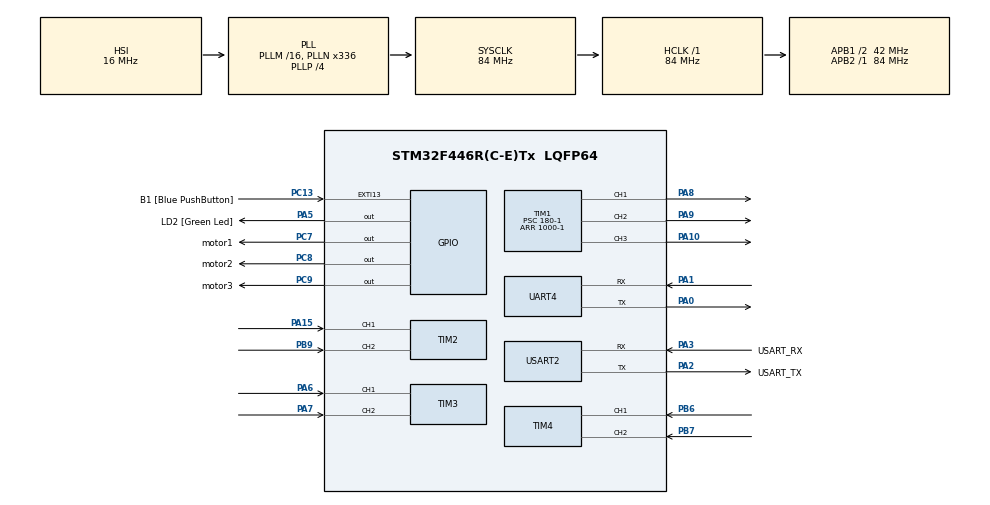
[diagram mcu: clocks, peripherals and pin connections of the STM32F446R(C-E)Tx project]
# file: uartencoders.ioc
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Mcu.Family=STM32F4
Mcu.Name=STM32F446R(C-E)Tx
Mcu.Package=LQFP64
NVIC.PriorityGroup=NVIC_PRIORITYGROUP_0
PA0-WKUP.Mode=Asynchronous
PA0-WKUP.Signal=UART4_TX
PA1.Mode=Asynchronous
PA1.Signal=UART4_RX
PA10.Signal=S_TIM1_CH3
PA13.GPIO_Label=TMS
PA13.Mode=Serial_Wire
PA13.Signal=SYS_JTMS-SWDIO
PA14.GPIO_Label=TCK
PA14.Mode=Serial_Wire
PA14.Signal=SYS_JTCK-SWCLK
PA15.GPIO_PuPd=GPIO_PULLUP
PA15.Signal=S_TIM2_CH1_ETR
PA2.GPIO_Label=USART_TX
PA2.Mode=Asynchronous
PA2.Signal=USART2_TX
PA3.GPIO_Label=USART_RX
PA3.Mode=Asynchronous
PA3.Signal=USART2_RX
PA5.GPIO_Label=LD2 [Green Led]
PA5.Signal=GPIO_Output
PA6.GPIO_PuPd=GPIO_PULLUP
PA6.Signal=S_TIM3_CH1
PA7.GPIO_PuPd=GPIO_PULLUP
PA7.Signal=S_TIM3_CH2
PA8.Signal=S_TIM1_CH1
PA9.Signal=S_TIM1_CH2
PB6.GPIO_PuPd=GPIO_PULLUP
PB6.Signal=S_TIM4_CH1
PB7.GPIO_PuPd=GPIO_PULLUP
PB7.Signal=S_TIM4_CH2
PB9.GPIO_PuPd=GPIO_PULLUP
PB9.Signal=S_TIM2_CH2
PC13.GPIO_Label=B1 [Blue PushButton]
PC13.GPIO_ModeDefaultEXTI=GPIO_MODE_IT_FALLING
PC13.Signal=GPXTI13
PC14-OSC32_IN.Mode=LSE-External-Oscillator
PC14-OSC32_IN.Signal=RCC_OSC32_IN
PC15-OSC32_OUT.Mode=LSE-External-Oscillator
PC15-OSC32_OUT.Signal=RCC_OSC32_OUT
PC7.GPIO_Label=motor1
PC7.Signal=GPIO_Output
PC8.GPIO_Label=motor2
PC8.Signal=GPIO_Output
PC9.GPIO_Label=motor3
PC9.Signal=GPIO_Output
PH0-OSC_IN.Mode=HSE-External-Oscillator
PH0-OSC_IN.Signal=RCC_OSC_IN
PH1-OSC_OUT.Mode=HSE-External-Oscillator
PH1-OSC_OUT.Signal=RCC_OSC_OUT
ProjectManager.HeapSize=0x200
ProjectManager.StackSize=0x400
ProjectManager.TargetToolchain=STM32CubeIDE
RCC.48MHZClocksFreq_Value=84000000
RCC.AHBFreq_Value=84000000
RCC.APB1CLKDivider=RCC_HCLK_DIV2
RCC.APB1Freq_Value=42000000
RCC.APB1TimFreq_Value=84000000
RCC.APB2Freq_Value=84000000
RCC.APB2TimFreq_Value=84000000
RCC.CortexFreq_Value=84000000
RCC.FLatency-AdvancedSettings=FLASH_LATENCY_2
RCC.HCLKFreq_Value=84000000
RCC.HSE_VALUE=8000000
RCC.HSI_VALUE=16000000
RCC.PLLN=336
RCC.PLLP=RCC_PLLP_DIV4
RCC.SYSCLKFreq_VALUE=84000000
RCC.SYSCLKSource=RCC_SYSCLKSOURCE_PLLCLK
RCC.USBFreq_Value=168000000
RCC.VCOOutputFreq_Value=336000000
SH.S_TIM1_CH1.0=TIM1_CH1,PWM Generation1 CH1
SH.S_TIM1_CH2.0=TIM1_CH2,PWM Generation2 CH2
SH.S_TIM1_CH3.0=TIM1_CH3,PWM Generation3 CH3
SH.S_TIM2_CH1_ETR.0=TIM2_CH1,Encoder_Interface
SH.S_TIM2_CH2.0=TIM2_CH2,Encoder_Interface
SH.S_TIM3_CH1.0=TIM3_CH1,Encoder_Interface
SH.S_TIM3_CH2.0=TIM3_CH2,Encoder_Interface
SH.S_TIM4_CH1.0=TIM4_CH1,Encoder_Interface
SH.S_TIM4_CH2.0=TIM4_CH2,Encoder_Interface
TIM1.Channel-PWM\ Generation1\ CH1=TIM_CHANNEL_1
TIM1.Channel-PWM\ Generation2\ CH2=TIM_CHANNEL_2
TIM1.Channel-PWM\ Generation3\ CH3=TIM_CHANNEL_3
TIM1.Period=1000-1
TIM1.Prescaler=180-1
TIM2.EncoderMode=TIM_ENCODERMODE_TI12
TIM2.IC1Filter=5
TIM2.IC2Filter=5
TIM3.EncoderMode=TIM_ENCODERMODE_TI12
TIM3.IC1Filter=5
TIM3.IC2Filter=5
TIM4.EncoderMode=TIM_ENCODERMODE_TI12
TIM4.IC1Filter=5
TIM4.IC2Filter=5
TIM8.Channel-PWM\ Generation1\ CH1=TIM_CHANNEL_1
TIM8.Period=1000-1
TIM8.Prescaler=180-1
UART4.VirtualMode=Asynchronous
USART2.VirtualMode=VM_ASYNC
VP_TIM1_VS_ClockSourceINT.Mode=Internal
VP_TIM8_VS_ClockSourceINT.Mode=Internal
board=NUCLEO-F446RE

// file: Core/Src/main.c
/* USER CODE BEGIN Header */
/**
  ******************************************************************************
  * @file           : main.c
  * @brief          : Main program body
  ******************************************************************************
  * @attention
  *
  * Copyright (c) 2025 STMicroelectronics.
  * All rights reserved.
  *
  * This software is licensed under terms that can be found in the LICENSE file
  * in the root directory of this software component.
  * If no LICENSE file comes with this software, it is provided AS-IS.
  *
  ******************************************************************************
  */
/* USER CODE END Header */
#include "main.h"
#include<stdio.h>
#include<inttypes.h>
#include<Math.h>
#include <stdbool.h>
#include <stdlib.h>
/* USER CODE BEGIN Includes */
#define pi 3.1415926535
uint8_t rxbuff[16];
int slow=75;
int fast=400;
int Buff1=60;
int Buff2=-60;
int BuffP=80;
int BuffN=-80;
int target_wf,target_wrr,target_wrl,w;
int32_t lx, ly, rx, ry, cro, squ, tri, cir, up, down, left, right, ll1, rr1, ll2, rr2,rL,rR;
int deadzone=50;
int l0=310;
/* USER CODE END Includes */

TIM_HandleTypeDef htim1;
TIM_HandleTypeDef htim2;
TIM_HandleTypeDef htim3;
TIM_HandleTypeDef htim4;
TIM_HandleTypeDef htim8;

UART_HandleTypeDef huart4;
UART_HandleTypeDef huart2;

void SystemClock_Config(void);
static void MX_GPIO_Init(void);
static void MX_USART2_UART_Init(void);
static void MX_UART4_Init(void);
static void MX_TIM2_Init(void);
static void MX_TIM3_Init(void);
static void MX_TIM4_Init(void);
static void MX_TIM1_Init(void);
static void MX_TIM8_Init(void);

int constrain(int value, int min_val, int max_val) {
    if (value < min_val) return min_val;
    if (value > max_val) return max_val;
    return value;
}
void compute3wheel() {
  // Calculate joystick-based velocities
	  const double theta = -30 * pi / 180;
	double lx_rotated = lx * cos(theta) - ly * sin(theta);
	  double ly_rotated = lx * sin(theta) + ly * cos(theta);
	  double vx = ly_rotated;
	  double vy = lx_rotated;
  w = rx;
    target_wf = ((-0.5*vx) + (sqrt(3)/2)*vy + l0*w);
    target_wrr = ((-0.5*vx)-(sqrt(3)/2)*vy + l0*w) ;
    target_wrl = (vx+l0*w);

    // Constrain target wheel speeds
    target_wf = constrain(target_wf, -800, 800);
    target_wrr = constrain(target_wrr, -800, 800);
    target_wrl = constrain(target_wrl, -800, 800);
}
int main(void)
{

  /* MCU Configuration--------------------------------------------------------*/

  /* Reset of all peripherals, Initializes the Flash interface and the Systick. */
  HAL_Init();

  /* USER CODE BEGIN Init */
  int counterValue,counterValue1,counterValue2;
  	int pastCounterValue=0,pastCounterValue1=0,pastCounterValue2=0;
  /* USER CODE END Init */

  /* Configure the system clock */
  SystemClock_Config();

  /* Initialize all configured peripherals */
  MX_GPIO_Init();
  MX_USART2_UART_Init();
  MX_UART4_Init();
  MX_TIM2_Init();
  MX_TIM3_Init();
  MX_TIM4_Init();
  MX_TIM1_Init();
  MX_TIM8_Init();
  /* USER CODE BEGIN 2 */
  HAL_UART_Receive(&huart4, rxbuff, 64,1000);
  HAL_TIM_Encoder_Start(&htim2, TIM_CHANNEL_ALL);
  HAL_TIM_Encoder_Start(&htim3, TIM_CHANNEL_ALL);
  HAL_TIM_Encoder_Start(&htim4, TIM_CHANNEL_ALL);
  /* USER CODE END 2 */

  /* Infinite loop */
  while (1)
  {

    /* USER CODE BEGIN 3 */
		  HAL_StatusTypeDef status;
		  status=HAL_UART_Receive(&huart4, rxbuff,64,1000);
		  if (status == HAL_OK)
		  {
			  	  	  	  // Convert the received bytes to signed integers
		  	  	 	 	   lx = (rxbuff[0] & 0x80) ? (int32_t)rxbuff[0] - 256 : (int32_t)rxbuff[0];
		  	  	 	 	   ly = (rxbuff[1] & 0x80) ? (int32_t)rxbuff[1] - 256 : (int32_t)rxbuff[1];
		  	  	 	 	   rx = (rxbuff[2] & 0x80) ? (int32_t)rxbuff[2] - 256 : (int32_t)rxbuff[2];
		  	  	 	 	   ry = (rxbuff[3] & 0x80) ? (int32_t)rxbuff[3] - 256 : (int32_t)rxbuff[3];
		  	  	 	 	   cro= (rxbuff[4] & 0x80) ? (int32_t)rxbuff[4] - 256 : (int32_t)rxbuff[4];
		  	  	 	 	   squ= (rxbuff[5] & 0x80) ? (int32_t)rxbuff[5] - 256 : (int32_t)rxbuff[5];
		  	  	 	 	   tri= (rxbuff[6] & 0x80) ? (int32_t)rxbuff[6] - 256 : (int32_t)rxbuff[6];
		  	  	 	 	   cir= (rxbuff[7] & 0x80) ? (int32_t)rxbuff[7] - 256 : (int32_t)rxbuff[7];
		  	  	 	 	   up= (rxbuff[8] & 0x80) ? (int32_t)rxbuff[8] - 256 : (int32_t)rxbuff[8];
		  	  	 	 	   down= (rxbuff[9] & 0x80) ? (int32_t)rxbuff[9] - 256 : (int32_t)rxbuff[9];
		  	  	 	 	   left= (rxbuff[10] & 0x80) ? (int32_t)rxbuff[10] - 256 : (int32_t)rxbuff[10];
		  	  	 	 	   right=(rxbuff[11] & 0x80) ? (int32_t)rxbuff[11] - 256 : (int32_t)rxbuff[11];
		  	  	 	 	   ll1= (rxbuff[12] & 0x80) ? (int32_t)rxbuff[12] - 256 : (int32_t)rxbuff[12];
		  	  	 	 	   ll2= (rxbuff[13] & 0x80) ? (int32_t)rxbuff[13] - 256 : (int32_t)rxbuff[13];
		  	  	 	 	   rr1= (rxbuff[14] & 0x80) ? (int32_t)rxbuff[14] - 256 : (int32_t)rxbuff[14];
		  	  	 	 	   rr2= (rxbuff[15] & 0x80) ? (int32_t)rxbuff[15] - 256 : (int32_t)rxbuff[15];
//			  	  	  	  	  	  	  lx = (rxbuff[1] & 0x80) ? (int32_t)rxbuff[1] - 256 : (int32_t)rxbuff[1];
//			  		  	  	 	 	   ly = (rxbuff[2] & 0x80) ? (int32_t)rxbuff[2] - 256 : (int32_t)rxbuff[2];
//			  		  	  	 	 	   rx = (rxbuff[3] & 0x80) ? (int32_t)rxbuff[3] - 256 : (int32_t)rxbuff[3];
//			  		  	  	 	 	   ry = (rxbuff[4] & 0x80) ? (int32_t)rxbuff[4] - 256 : (int32_t)rxbuff[4];
//			  		  	  	 	 	   cro= (rxbuff[5] & 0x80) ? (int32_t)rxbuff[5] - 256 : (int32_t)rxbuff[5];
//			  		  	  	 	 	   squ= (rxbuff[6] & 0x80) ? (int32_t)rxbuff[6] - 256 : (int32_t)rxbuff[6];
//			  		  	  	 	 	   tri= (rxbuff[7] & 0x80) ? (int32_t)rxbuff[7] - 256 : (int32_t)rxbuff[7];
//			  		  	  	 	 	   cir= (rxbuff[8] & 0x80) ? (int32_t)rxbuff[8] - 256 : (int32_t)rxbuff[8];
//			  		  	  	 	 	   up= (rxbuff[8] & 0x80) ? (int32_t)rxbuff[9] - 256 : (int32_t)rxbuff[9];
//			  		  	  	 	 	   down= (rxbuff[10] & 0x80) ? (int32_t)rxbuff[10] - 256 : (int32_t)rxbuff[10];
//			  		  	  	 	 	   left= (rxbuff[11] & 0x80) ? (int32_t)rxbuff[11] - 256 : (int32_t)rxbuff[11];
//			  		  	  	 	 	   right=(rxbuff[12] & 0x80) ? (int32_t)rxbuff[12] - 256 : (int32_t)rxbuff[12];
//			  		  	  	 	 	   ll1= (rxbuff[13] & 0x80) ? (int32_t)rxbuff[13] - 256 : (int32_t)rxbuff[13];
//			  		  	  	 	 	   ll2= (rxbuff[14] & 0x80) ? (int32_t)rxbuff[14] - 256 : (int32_t)rxbuff[14];
//			  		  	  	 	 	   rr1= (rxbuff[15] & 0x80) ? (int32_t)rxbuff[15] - 256 : (int32_t)rxbuff[15];
//			  		  	  	 	 	   rr2= (rxbuff[16] & 0x80) ? (int32_t)rxbuff[16] - 256 : (int32_t)rxbuff[16];

		  	  	 	 	   // Print the received values

		  }
		  else
		  {
			  ry = 0;
		  	  rx = 0;
		  	  lx = 0;
		  	  ly = 0;
		  	  cro = 0;
		  	  squ = 0;
		  	  tri = 0;
		  	  cir = 0;
		  	  up = 0;
		  	  down = 0;
		  	  left = 0;
		  	  right = 0;
		  	  ll1=0;
		  	  ll2=0;
		  	  rr1=0;
		  	  rr2=0;
		  }
		  if (abs(lx) < deadzone) lx = 0;
		  if (abs(ly) < deadzone) ly = 0;
		  if (abs(rx) < deadzone) rx = 0;
		  else rx = (rx>0)?rx-deadzone : rx+deadzone;
		  if (abs(ry) < deadzone) ry = 0;
		  lx = (lx * 950) / 127;  // Assuming joystick range is -127 to +127
		  ly = (ly * 950) / 127;
		  rx = (rx * 950) / 127;
		  rL = sqrt(lx * lx + ly * ly);
		  rR = sqrt(rx * rx + ry * ry);
		  printf("Received Integers: %ld %ld %ld %ld %ld %ld %ld %ld\r\n", lx, ly, rx, ry, cro, squ, tri, cir);
		  counterValue = TIM2->CNT;
		  counterValue1 = TIM3->CNT;
		  counterValue2 = TIM4->CNT;
		  if (counterValue != pastCounterValue)
		  {

			  printf("count1 is: %d\n\r", counterValue);

		  }
		  pastCounterValue = counterValue;
		  if (counterValue1 != pastCounterValue1)
		  {
			  printf("count2 is: %d\n\r", counterValue1);

		  }
		  pastCounterValue1 = counterValue1;
		  if (counterValue2 != pastCounterValue2)
		  {
			  printf("count3 is: %d\n\r", counterValue2);

		  }
		  pastCounterValue2 = counterValue2;
		  if(squ == 1)
		  {
		  		  TIM2->CNT=0;
		  		  TIM3->CNT=0;
		  		  TIM4->CNT=0;
		  		  printf("reset");
		  }
		  compute3wheel();
		  if(target_wf>=0)
		  {
		  TIM1->CCR1 = target_wf;
		  HAL_TIM_PWM_Start(&htim1,TIM_CHANNEL_1);
		  HAL_GPIO_WritePin(GPIOC,GPIO_PIN_7,0);
		  }
		  else
		  {
			  TIM1->CCR1 = -target_wf;
			  HAL_TIM_PWM_Start(&htim1,TIM_CHANNEL_1);
			  HAL_GPIO_WritePin(GPIOC,GPIO_PIN_7,1);
		  }
		  if(target_wrr>=0)
		  {
			  TIM1->CCR2 = target_wrr;
			  HAL_TIM_PWM_Start(&htim1,TIM_CHANNEL_2);
			  HAL_GPIO_WritePin(GPIOC,GPIO_PIN_8,0);
		  }
		  else
		  {
			  TIM1->CCR2 = -target_wrr;
			  HAL_TIM_PWM_Start(&htim1,TIM_CHANNEL_2);
			  HAL_GPIO_WritePin(GPIOC,GPIO_PIN_8,1);
		  }
		  if(target_wrl>=0)
		  {
			  TIM1->CCR3 = target_wrl;
			  HAL_TIM_PWM_Start(&htim1,TIM_CHANNEL_3);
			  HAL_GPIO_WritePin(GPIOC,GPIO_PIN_9,0);
		  }
		  else
		  {
			  TIM1->CCR3 = -target_wrl;
			  HAL_TIM_PWM_Start(&htim1,TIM_CHANNEL_3);
			  HAL_GPIO_WritePin(GPIOC,GPIO_PIN_9,1);
		  }
    /* USER CODE BEGIN 3 */
  }
  /* USER CODE END 3 */
}

void SystemClock_Config(void)
{
  RCC_OscInitTypeDef RCC_OscInitStruct = {0};
  RCC_ClkInitTypeDef RCC_ClkInitStruct = {0};

  /** Configure the main internal regulator output voltage
  */
  __HAL_RCC_PWR_CLK_ENABLE();
  __HAL_PWR_VOLTAGESCALING_CONFIG(PWR_REGULATOR_VOLTAGE_SCALE3);

  /** Initializes the RCC Oscillators according to the specified parameters
  * in the RCC_OscInitTypeDef structure.
  */
  RCC_OscInitStruct.OscillatorType = RCC_OSCILLATORTYPE_HSI;
  RCC_OscInitStruct.HSIState = RCC_HSI_ON;
  RCC_OscInitStruct.HSICalibrationValue = RCC_HSICALIBRATION_DEFAULT;
  RCC_OscInitStruct.PLL.PLLState = RCC_PLL_ON;
  RCC_OscInitStruct.PLL.PLLSource = RCC_PLLSOURCE_HSI;
  RCC_OscInitStruct.PLL.PLLM = 16;
  RCC_OscInitStruct.PLL.PLLN = 336;
  RCC_OscInitStruct.PLL.PLLP = RCC_PLLP_DIV4;
  RCC_OscInitStruct.PLL.PLLQ = 2;
  RCC_OscInitStruct.PLL.PLLR = 2;
  if (HAL_RCC_OscConfig(&RCC_OscInitStruct) != HAL_OK)
  {
    Error_Handler();
  }

  /** Initializes the CPU, AHB and APB buses clocks
  */
  RCC_ClkInitStruct.ClockType = RCC_CLOCKTYPE_HCLK|RCC_CLOCKTYPE_SYSCLK
                              |RCC_CLOCKTYPE_PCLK1|RCC_CLOCKTYPE_PCLK2;
  RCC_ClkInitStruct.SYSCLKSource = RCC_SYSCLKSOURCE_PLLCLK;
  RCC_ClkInitStruct.AHBCLKDivider = RCC_SYSCLK_DIV1;
  RCC_ClkInitStruct.APB1CLKDivider = RCC_HCLK_DIV2;
  RCC_ClkInitStruct.APB2CLKDivider = RCC_HCLK_DIV1;

  if (HAL_RCC_ClockConfig(&RCC_ClkInitStruct, FLASH_LATENCY_2) != HAL_OK)
  {
    Error_Handler();
  }
}

static void MX_TIM1_Init(void)
{

  TIM_ClockConfigTypeDef sClockSourceConfig = {0};
  TIM_MasterConfigTypeDef sMasterConfig = {0};
  TIM_OC_InitTypeDef sConfigOC = {0};
  TIM_BreakDeadTimeConfigTypeDef sBreakDeadTimeConfig = {0};

  htim1.Instance = TIM1;
  htim1.Init.Prescaler = 180-1;
  htim1.Init.CounterMode = TIM_COUNTERMODE_UP;
  htim1.Init.Period = 1000-1;
  htim1.Init.ClockDivision = TIM_CLOCKDIVISION_DIV1;
  htim1.Init.RepetitionCounter = 0;
  htim1.Init.AutoReloadPreload = TIM_AUTORELOAD_PRELOAD_DISABLE;
  if (HAL_TIM_Base_Init(&htim1) != HAL_OK)
  {
    Error_Handler();
  }
  sClockSourceConfig.ClockSource = TIM_CLOCKSOURCE_INTERNAL;
  if (HAL_TIM_ConfigClockSource(&htim1, &sClockSourceConfig) != HAL_OK)
  {
    Error_Handler();
  }
  if (HAL_TIM_PWM_Init(&htim1) != HAL_OK)
  {
    Error_Handler();
  }
  sMasterConfig.MasterOutputTrigger = TIM_TRGO_RESET;
  sMasterConfig.MasterSlaveMode = TIM_MASTERSLAVEMODE_DISABLE;
  if (HAL_TIMEx_MasterConfigSynchronization(&htim1, &sMasterConfig) != HAL_OK)
  {
    Error_Handler();
  }
  sConfigOC.OCMode = TIM_OCMODE_PWM1;
  sConfigOC.Pulse = 0;
  sConfigOC.OCPolarity = TIM_OCPOLARITY_HIGH;
  sConfigOC.OCNPolarity = TIM_OCNPOLARITY_HIGH;
  sConfigOC.OCFastMode = TIM_OCFAST_DISABLE;
  sConfigOC.OCIdleState = TIM_OCIDLESTATE_RESET;
  sConfigOC.OCNIdleState = TIM_OCNIDLESTATE_RESET;
  if (HAL_TIM_PWM_ConfigChannel(&htim1, &sConfigOC, TIM_CHANNEL_1) != HAL_OK)
  {
    Error_Handler();
  }
  if (HAL_TIM_PWM_ConfigChannel(&htim1, &sConfigOC, TIM_CHANNEL_2) != HAL_OK)
  {
    Error_Handler();
  }
  if (HAL_TIM_PWM_ConfigChannel(&htim1, &sConfigOC, TIM_CHANNEL_3) != HAL_OK)
  {
    Error_Handler();
  }
  sBreakDeadTimeConfig.OffStateRunMode = TIM_OSSR_DISABLE;
  sBreakDeadTimeConfig.OffStateIDLEMode = TIM_OSSI_DISABLE;
  sBreakDeadTimeConfig.LockLevel = TIM_LOCKLEVEL_OFF;
  sBreakDeadTimeConfig.DeadTime = 0;
  sBreakDeadTimeConfig.BreakState = TIM_BREAK_DISABLE;
  sBreakDeadTimeConfig.BreakPolarity = TIM_BREAKPOLARITY_HIGH;
  sBreakDeadTimeConfig.AutomaticOutput = TIM_AUTOMATICOUTPUT_DISABLE;
  if (HAL_TIMEx_ConfigBreakDeadTime(&htim1, &sBreakDeadTimeConfig) != HAL_OK)
  {
    Error_Handler();
  }
  HAL_TIM_MspPostInit(&htim1);

}

static void MX_TIM2_Init(void)
{

  TIM_Encoder_InitTypeDef sConfig = {0};
  TIM_MasterConfigTypeDef sMasterConfig = {0};

  htim2.Instance = TIM2;
  htim2.Init.Prescaler = 0;
  htim2.Init.CounterMode = TIM_COUNTERMODE_UP;
  htim2.Init.Period = 4294967295;
  htim2.Init.ClockDivision = TIM_CLOCKDIVISION_DIV1;
  htim2.Init.AutoReloadPreload = TIM_AUTORELOAD_PRELOAD_DISABLE;
  sConfig.EncoderMode = TIM_ENCODERMODE_TI12;
  sConfig.IC1Polarity = TIM_ICPOLARITY_RISING;
  sConfig.IC1Selection = TIM_ICSELECTION_DIRECTTI;
  sConfig.IC1Prescaler = TIM_ICPSC_DIV1;
  sConfig.IC1Filter = 5;
  sConfig.IC2Polarity = TIM_ICPOLARITY_RISING;
  sConfig.IC2Selection = TIM_ICSELECTION_DIRECTTI;
  sConfig.IC2Prescaler = TIM_ICPSC_DIV1;
  sConfig.IC2Filter = 5;
  if (HAL_TIM_Encoder_Init(&htim2, &sConfig) != HAL_OK)
  {
    Error_Handler();
  }
  sMasterConfig.MasterOutputTrigger = TIM_TRGO_RESET;
  sMasterConfig.MasterSlaveMode = TIM_MASTERSLAVEMODE_DISABLE;
  if (HAL_TIMEx_MasterConfigSynchronization(&htim2, &sMasterConfig) != HAL_OK)
  {
    Error_Handler();
  }

}

static void MX_TIM3_Init(void)
{

  TIM_Encoder_InitTypeDef sConfig = {0};
  TIM_MasterConfigTypeDef sMasterConfig = {0};

  htim3.Instance = TIM3;
  htim3.Init.Prescaler = 0;
  htim3.Init.CounterMode = TIM_COUNTERMODE_UP;
  htim3.Init.Period = 65535;
  htim3.Init.ClockDivision = TIM_CLOCKDIVISION_DIV1;
  htim3.Init.AutoReloadPreload = TIM_AUTORELOAD_PRELOAD_DISABLE;
  sConfig.EncoderMode = TIM_ENCODERMODE_TI12;
  sConfig.IC1Polarity = TIM_ICPOLARITY_RISING;
  sConfig.IC1Selection = TIM_ICSELECTION_DIRECTTI;
  sConfig.IC1Prescaler = TIM_ICPSC_DIV1;
  sConfig.IC1Filter = 5;
  sConfig.IC2Polarity = TIM_ICPOLARITY_RISING;
  sConfig.IC2Selection = TIM_ICSELECTION_DIRECTTI;
  sConfig.IC2Prescaler = TIM_ICPSC_DIV1;
  sConfig.IC2Filter = 5;
  if (HAL_TIM_Encoder_Init(&htim3, &sConfig) != HAL_OK)
  {
    Error_Handler();
  }
  sMasterConfig.MasterOutputTrigger = TIM_TRGO_RESET;
  sMasterConfig.MasterSlaveMode = TIM_MASTERSLAVEMODE_DISABLE;
  if (HAL_TIMEx_MasterConfigSynchronization(&htim3, &sMasterConfig) != HAL_OK)
  {
    Error_Handler();
  }

}

static void MX_TIM4_Init(void)
{

  TIM_Encoder_InitTypeDef sConfig = {0};
  TIM_MasterConfigTypeDef sMasterConfig = {0};

  htim4.Instance = TIM4;
  htim4.Init.Prescaler = 0;
  htim4.Init.CounterMode = TIM_COUNTERMODE_UP;
  htim4.Init.Period = 65535;
  htim4.Init.ClockDivision = TIM_CLOCKDIVISION_DIV1;
  htim4.Init.AutoReloadPreload = TIM_AUTORELOAD_PRELOAD_DISABLE;
  sConfig.EncoderMode = TIM_ENCODERMODE_TI12;
  sConfig.IC1Polarity = TIM_ICPOLARITY_RISING;
  sConfig.IC1Selection = TIM_ICSELECTION_DIRECTTI;
  sConfig.IC1Prescaler = TIM_ICPSC_DIV1;
  sConfig.IC1Filter = 5;
  sConfig.IC2Polarity = TIM_ICPOLARITY_RISING;
  sConfig.IC2Selection = TIM_ICSELECTION_DIRECTTI;
  sConfig.IC2Prescaler = TIM_ICPSC_DIV1;
  sConfig.IC2Filter = 5;
  if (HAL_TIM_Encoder_Init(&htim4, &sConfig) != HAL_OK)
  {
    Error_Handler();
  }
  sMasterConfig.MasterOutputTrigger = TIM_TRGO_RESET;
  sMasterConfig.MasterSlaveMode = TIM_MASTERSLAVEMODE_DISABLE;
  if (HAL_TIMEx_MasterConfigSynchronization(&htim4, &sMasterConfig) != HAL_OK)
  {
    Error_Handler();
  }

}

static void MX_TIM8_Init(void)
{

  TIM_ClockConfigTypeDef sClockSourceConfig = {0};
  TIM_MasterConfigTypeDef sMasterConfig = {0};

  htim8.Instance = TIM8;
  htim8.Init.Prescaler = 180-1;
  htim8.Init.CounterMode = TIM_COUNTERMODE_UP;
  htim8.Init.Period = 1000-1;
  htim8.Init.ClockDivision = TIM_CLOCKDIVISION_DIV1;
  htim8.Init.RepetitionCounter = 0;
  htim8.Init.AutoReloadPreload = TIM_AUTORELOAD_PRELOAD_DISABLE;
  if (HAL_TIM_Base_Init(&htim8) != HAL_OK)
  {
    Error_Handler();
  }
  sClockSourceConfig.ClockSource = TIM_CLOCKSOURCE_INTERNAL;
  if (HAL_TIM_ConfigClockSource(&htim8, &sClockSourceConfig) != HAL_OK)
  {
    Error_Handler();
  }
  sMasterConfig.MasterOutputTrigger = TIM_TRGO_RESET;
  sMasterConfig.MasterSlaveMode = TIM_MASTERSLAVEMODE_DISABLE;
  if (HAL_TIMEx_MasterConfigSynchronization(&htim8, &sMasterConfig) != HAL_OK)
  {
    Error_Handler();
  }

}
int _write(int file, char *ptr, int len) {
    HAL_UART_Transmit(&huart2, (uint8_t*)ptr, len, HAL_MAX_DELAY);
    return len;
}
static void MX_UART4_Init(void)
{

  huart4.Instance = UART4;
  huart4.Init.BaudRate = 115200;
  huart4.Init.WordLength = UART_WORDLENGTH_8B;
  huart4.Init.StopBits = UART_STOPBITS_1;
  huart4.Init.Parity = UART_PARITY_NONE;
  huart4.Init.Mode = UART_MODE_TX_RX;
  huart4.Init.HwFlowCtl = UART_HWCONTROL_NONE;
  huart4.Init.OverSampling = UART_OVERSAMPLING_16;
  if (HAL_UART_Init(&huart4) != HAL_OK)
  {
    Error_Handler();
  }

}

static void MX_USART2_UART_Init(void)
{

  huart2.Instance = USART2;
  huart2.Init.BaudRate = 115200;
  huart2.Init.WordLength = UART_WORDLENGTH_8B;
  huart2.Init.StopBits = UART_STOPBITS_1;
  huart2.Init.Parity = UART_PARITY_NONE;
  huart2.Init.Mode = UART_MODE_TX_RX;
  huart2.Init.HwFlowCtl = UART_HWCONTROL_NONE;
  huart2.Init.OverSampling = UART_OVERSAMPLING_16;
  if (HAL_UART_Init(&huart2) != HAL_OK)
  {
    Error_Handler();
  }

}

static void MX_GPIO_Init(void)
{
  GPIO_InitTypeDef GPIO_InitStruct = {0};

  /* GPIO Ports Clock Enable */
  __HAL_RCC_GPIOC_CLK_ENABLE();
  __HAL_RCC_GPIOH_CLK_ENABLE();
  __HAL_RCC_GPIOA_CLK_ENABLE();
  __HAL_RCC_GPIOB_CLK_ENABLE();

  /*Configure GPIO pin Output Level */
  HAL_GPIO_WritePin(LD2_GPIO_Port, LD2_Pin, GPIO_PIN_RESET);

  /*Configure GPIO pin Output Level */
  HAL_GPIO_WritePin(GPIOC, motor1_Pin|motor2_Pin|motor3_Pin, GPIO_PIN_RESET);

  /*Configure GPIO pin : B1_Pin */
  GPIO_InitStruct.Pin = B1_Pin;
  GPIO_InitStruct.Mode = GPIO_MODE_IT_FALLING;
  GPIO_InitStruct.Pull = GPIO_NOPULL;
  HAL_GPIO_Init(B1_GPIO_Port, &GPIO_InitStruct);

  /*Configure GPIO pin : LD2_Pin */
  GPIO_InitStruct.Pin = LD2_Pin;
  GPIO_InitStruct.Mode = GPIO_MODE_OUTPUT_PP;
  GPIO_InitStruct.Pull = GPIO_NOPULL;
  GPIO_InitStruct.Speed = GPIO_SPEED_FREQ_LOW;
  HAL_GPIO_Init(LD2_GPIO_Port, &GPIO_InitStruct);

  /*Configure GPIO pins : motor1_Pin motor2_Pin motor3_Pin */
  GPIO_InitStruct.Pin = motor1_Pin|motor2_Pin|motor3_Pin;
  GPIO_InitStruct.Mode = GPIO_MODE_OUTPUT_PP;
  GPIO_InitStruct.Pull = GPIO_NOPULL;
  GPIO_InitStruct.Speed = GPIO_SPEED_FREQ_LOW;
  HAL_GPIO_Init(GPIOC, &GPIO_InitStruct);

}

void Error_Handler(void)
{
  __disable_irq();
  while (1)
  {
  }
}
